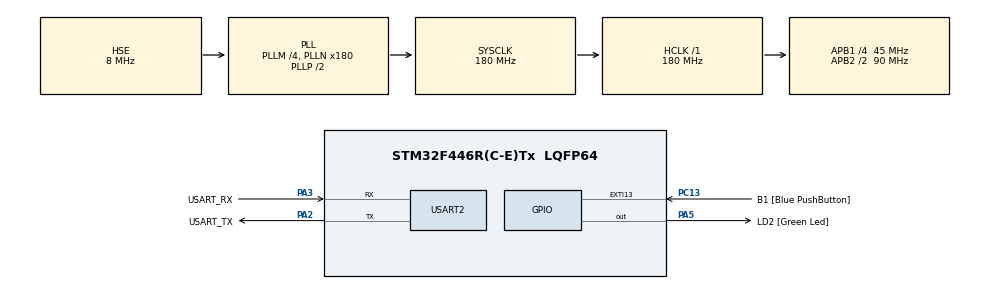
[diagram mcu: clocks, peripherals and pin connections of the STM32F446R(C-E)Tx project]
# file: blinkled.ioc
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Mcu.Family=STM32F4
Mcu.Name=STM32F446R(C-E)Tx
Mcu.Package=LQFP64
NVIC.PriorityGroup=NVIC_PRIORITYGROUP_0
PA13.GPIO_Label=TMS
PA13.Mode=Serial_Wire
PA13.Signal=SYS_JTMS-SWDIO
PA14.GPIO_Label=TCK
PA14.Mode=Serial_Wire
PA14.Signal=SYS_JTCK-SWCLK
PA2.GPIO_Label=USART_TX
PA2.Mode=Asynchronous
PA2.Signal=USART2_TX
PA3.GPIO_Label=USART_RX
PA3.Mode=Asynchronous
PA3.Signal=USART2_RX
PA5.GPIO_Label=LD2 [Green Led]
PA5.Signal=GPIO_Output
PB3.GPIO_Label=SWO
PB3.Signal=SYS_JTDO-SWO
PC13.GPIO_Label=B1 [Blue PushButton]
PC13.GPIO_ModeDefaultEXTI=GPIO_MODE_IT_FALLING
PC13.Signal=GPXTI13
PC14-OSC32_IN.Signal=RCC_OSC32_IN
PC15-OSC32_OUT.Signal=RCC_OSC32_OUT
PH0-OSC_IN.Mode=HSE-External-Clock-Source
PH0-OSC_IN.Signal=RCC_OSC_IN
PH1-OSC_OUT.Mode=HSE-External-Clock-Source
PH1-OSC_OUT.Signal=RCC_OSC_OUT
ProjectManager.HeapSize=0x200
ProjectManager.StackSize=0x400
ProjectManager.TargetToolchain=SW4STM32
RCC.48MHZClocksFreq_Value=84000000
RCC.AHBFreq_Value=180000000
RCC.APB1CLKDivider=RCC_HCLK_DIV4
RCC.APB1Freq_Value=45000000
RCC.APB1TimFreq_Value=90000000
RCC.APB2CLKDivider=RCC_HCLK_DIV2
RCC.APB2Freq_Value=90000000
RCC.APB2TimFreq_Value=180000000
RCC.CortexFreq_Value=180000000
RCC.FLatency-AdvancedSettings=FLASH_LATENCY_5
RCC.HCLKFreq_Value=180000000
RCC.HSE_VALUE=8000000
RCC.HSI_VALUE=16000000
RCC.PLLM=4
RCC.PLLN=180
RCC.PLLSourceVirtual=RCC_PLLSOURCE_HSE
RCC.SYSCLKFreq_VALUE=180000000
RCC.SYSCLKSource=RCC_SYSCLKSOURCE_PLLCLK
RCC.USBFreq_Value=180000000
RCC.VCOOutputFreq_Value=360000000
USART2.VirtualMode=VM_ASYNC
board=NUCLEO-F446RE

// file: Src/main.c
/**
  ******************************************************************************
  * @file           : main.c
  * @brief          : Main program body
  ******************************************************************************
  ** This notice applies to any and all portions of this file
  * that are not between comment pairs USER CODE BEGIN and
  * USER CODE END. Other portions of this file, whether
  * inserted by the user or by software development tools
  * are owned by their respective copyright owners.
  *
  * COPYRIGHT(c) 2018 STMicroelectronics
  *
  * Redistribution and use in source and binary forms, with or without modification,
  * are permitted provided that the following conditions are met:
  *   1. Redistributions of source code must retain the above copyright notice,
  *      this list of conditions and the following disclaimer.
  *   2. Redistributions in binary form must reproduce the above copyright notice,
  *      this list of conditions and the following disclaimer in the documentation
  *      and/or other materials provided with the distribution.
  *   3. Neither the name of STMicroelectronics nor the names of its contributors
  *      may be used to endorse or promote products derived from this software
  *      without specific prior written permission.
  *
  * THIS SOFTWARE IS PROVIDED BY THE COPYRIGHT HOLDERS AND CONTRIBUTORS "AS IS"
  * AND ANY EXPRESS OR IMPLIED WARRANTIES, INCLUDING, BUT NOT LIMITED TO, THE
  * IMPLIED WARRANTIES OF MERCHANTABILITY AND FITNESS FOR A PARTICULAR PURPOSE ARE
  * DISCLAIMED. IN NO EVENT SHALL THE COPYRIGHT HOLDER OR CONTRIBUTORS BE LIABLE
  * FOR ANY DIRECT, INDIRECT, INCIDENTAL, SPECIAL, EXEMPLARY, OR CONSEQUENTIAL
  * DAMAGES (INCLUDING, BUT NOT LIMITED TO, PROCUREMENT OF SUBSTITUTE GOODS OR
  * SERVICES; LOSS OF USE, DATA, OR PROFITS; OR BUSINESS INTERRUPTION) HOWEVER
  * CAUSED AND ON ANY THEORY OF LIABILITY, WHETHER IN CONTRACT, STRICT LIABILITY,
  * OR TORT (INCLUDING NEGLIGENCE OR OTHERWISE) ARISING IN ANY WAY OUT OF THE USE
  * OF THIS SOFTWARE, EVEN IF ADVISED OF THE POSSIBILITY OF SUCH DAMAGE.
  *
  ******************************************************************************
  */
#include "main.h"
#include "stm32f4xx_hal.h"
#include "usart.h"
#include "gpio.h"

/* USER CODE BEGIN PV */
/* Private variables ---------------------------------------------------------*/

/* USER CODE END PV */

void SystemClock_Config(void);

/* USER CODE BEGIN PFP */
/* Private function prototypes -----------------------------------------------*/

/* USER CODE END PFP */

int main(void)
{

  /* MCU Configuration----------------------------------------------------------*/

  /* Reset of all peripherals, Initializes the Flash interface and the Systick. */
  HAL_Init();

  /* Configure the system clock */
  SystemClock_Config();

  /* Initialize all configured peripherals */
  MX_GPIO_Init();
  MX_USART2_UART_Init();

  /* Infinite loop */
  /* USER CODE BEGIN WHILE */
  while (1)
  {
	  HAL_GPIO_WritePin(GPIOA, GPIO_PIN_5, 1);
	  HAL_Delay(4);
	  HAL_GPIO_WritePin(GPIOA, GPIO_PIN_5, 0);
	  HAL_Delay(5);
	  HAL_GPIO_WritePin(GPIOA, GPIO_PIN_5, 1);
	  HAL_Delay(4);
	  HAL_GPIO_WritePin(GPIOA, GPIO_PIN_5, 0);
	  HAL_Delay(5);
	  HAL_GPIO_WritePin(GPIOA, GPIO_PIN_5, 1);
	  HAL_Delay(4);
	  HAL_GPIO_WritePin(GPIOA, GPIO_PIN_5, 0);
	  HAL_Delay(5);
	  HAL_GPIO_WritePin(GPIOA, GPIO_PIN_5, 1);
	  HAL_Delay(4);
	  HAL_GPIO_WritePin(GPIOA, GPIO_PIN_5, 0);
	  HAL_Delay(5);
	  HAL_GPIO_WritePin(GPIOA, GPIO_PIN_5, 1);
	  HAL_Delay(4);
	  HAL_GPIO_WritePin(GPIOA, GPIO_PIN_5, 0);
	  HAL_Delay(5);
	  HAL_GPIO_WritePin(GPIOA, GPIO_PIN_5, 1);
	  HAL_Delay(4);
	  HAL_GPIO_WritePin(GPIOA, GPIO_PIN_5, 0);
	  HAL_Delay(5);
	  HAL_GPIO_WritePin(GPIOA, GPIO_PIN_5, 1);
	  HAL_Delay(5);
	  HAL_GPIO_WritePin(GPIOA, GPIO_PIN_5, 0);
	  HAL_Delay(5);
	  HAL_GPIO_WritePin(GPIOA, GPIO_PIN_5, 1);
	  HAL_Delay(5);
	  HAL_GPIO_WritePin(GPIOA, GPIO_PIN_5, 0);
	  HAL_Delay(5);
	  HAL_GPIO_WritePin(GPIOA, GPIO_PIN_5, 1);
	  HAL_Delay(20);
	  HAL_GPIO_WritePin(GPIOA, GPIO_PIN_5, 0);
	  HAL_Delay(5);
	  HAL_GPIO_WritePin(GPIOA, GPIO_PIN_5, 1);
	  HAL_Delay(20);
	  HAL_GPIO_WritePin(GPIOA, GPIO_PIN_5, 0);
	  HAL_Delay(5);
	  HAL_GPIO_WritePin(GPIOA, GPIO_PIN_5, 1);
	  HAL_Delay(20);
	  HAL_GPIO_WritePin(GPIOA, GPIO_PIN_5, 0);
	  HAL_Delay(5);
	  HAL_GPIO_WritePin(GPIOA, GPIO_PIN_5, 1);
	  HAL_Delay(20);
	  HAL_GPIO_WritePin(GPIOA, GPIO_PIN_5, 0);
	  HAL_Delay(5);
	  HAL_GPIO_WritePin(GPIOA, GPIO_PIN_5, 1);
	  HAL_Delay(100);
	  HAL_GPIO_WritePin(GPIOA, GPIO_PIN_5, 0);
	  HAL_Delay(5);
	  HAL_GPIO_WritePin(GPIOA, GPIO_PIN_5, 1);
	  HAL_Delay(500);
	  HAL_GPIO_WritePin(GPIOA, GPIO_PIN_5, 0);
	  HAL_Delay(1000);
  /* USER CODE END WHILE */

  }

}

void SystemClock_Config(void)
{

  RCC_OscInitTypeDef RCC_OscInitStruct;
  RCC_ClkInitTypeDef RCC_ClkInitStruct;

    /**Configure the main internal regulator output voltage
    */
  __HAL_RCC_PWR_CLK_ENABLE();

  __HAL_PWR_VOLTAGESCALING_CONFIG(PWR_REGULATOR_VOLTAGE_SCALE1);

    /**Initializes the CPU, AHB and APB busses clocks
    */
  RCC_OscInitStruct.OscillatorType = RCC_OSCILLATORTYPE_HSE;
  RCC_OscInitStruct.HSEState = RCC_HSE_BYPASS;
  RCC_OscInitStruct.PLL.PLLState = RCC_PLL_ON;
  RCC_OscInitStruct.PLL.PLLSource = RCC_PLLSOURCE_HSE;
  RCC_OscInitStruct.PLL.PLLM = 4;
  RCC_OscInitStruct.PLL.PLLN = 180;
  RCC_OscInitStruct.PLL.PLLP = RCC_PLLP_DIV2;
  RCC_OscInitStruct.PLL.PLLQ = 2;
  RCC_OscInitStruct.PLL.PLLR = 2;
  if (HAL_RCC_OscConfig(&RCC_OscInitStruct) != HAL_OK)
  {
    _Error_Handler(__FILE__, __LINE__);
  }

    /**Activate the Over-Drive mode
    */
  if (HAL_PWREx_EnableOverDrive() != HAL_OK)
  {
    _Error_Handler(__FILE__, __LINE__);
  }

    /**Initializes the CPU, AHB and APB busses clocks
    */
  RCC_ClkInitStruct.ClockType = RCC_CLOCKTYPE_HCLK|RCC_CLOCKTYPE_SYSCLK
                              |RCC_CLOCKTYPE_PCLK1|RCC_CLOCKTYPE_PCLK2;
  RCC_ClkInitStruct.SYSCLKSource = RCC_SYSCLKSOURCE_PLLCLK;
  RCC_ClkInitStruct.AHBCLKDivider = RCC_SYSCLK_DIV1;
  RCC_ClkInitStruct.APB1CLKDivider = RCC_HCLK_DIV4;
  RCC_ClkInitStruct.APB2CLKDivider = RCC_HCLK_DIV2;

  if (HAL_RCC_ClockConfig(&RCC_ClkInitStruct, FLASH_LATENCY_5) != HAL_OK)
  {
    _Error_Handler(__FILE__, __LINE__);
  }

    /**Configure the Systick interrupt time
    */
  HAL_SYSTICK_Config(HAL_RCC_GetHCLKFreq()/1000);

    /**Configure the Systick
    */
  HAL_SYSTICK_CLKSourceConfig(SYSTICK_CLKSOURCE_HCLK);

  /* SysTick_IRQn interrupt configuration */
  HAL_NVIC_SetPriority(SysTick_IRQn, 0, 0);
}

void _Error_Handler(char *file, int line)
{
  while(1)
  {
  }
}

/************************ (C) COPYRIGHT STMicroelectronics *****END OF FILE****/
